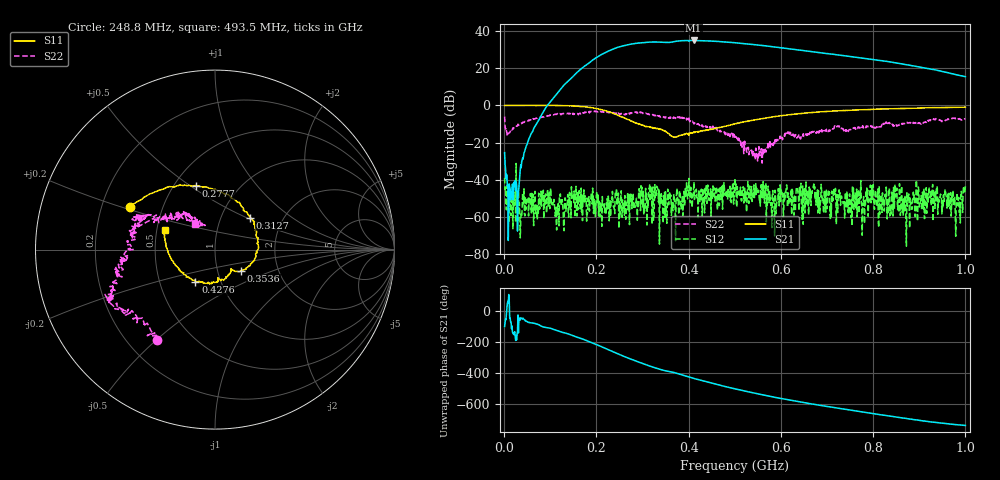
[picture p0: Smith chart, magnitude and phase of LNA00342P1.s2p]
! Created with skrf 1.9.0 (http://scikit-rf.org).
# Hz S RI R 50.0
!freq ReS11 ImS11 ReS21 ImS21 ReS12 ImS12 ReS22 ImS22
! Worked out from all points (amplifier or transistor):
!   1001 points, 1 MHz to 1 GHz, reference 50 ohm
!   highest |S21| = 34.9 dB at 410.6 MHz (marker M1)
!   |S21| within 3 dB of that: 256.4 MHz to 569.6 MHz (313.1 MHz wide, 75.8 % of centre)
!   unconditionally stable (mu >= 1): 200 MHz to 296.6 MHz; 326.7 MHz to 400.5 MHz; 400.7 MHz to end of sweep (the widest 3 of 31)
!   at 166.8 MHz: K = 1.29, MAG = 28.7 dB, |S12| = -44.4 dB
!   at 500.5 MHz: K = 1.09, MAG = 34.5 dB, |S12| = -39.1 dB
!   at 1 GHz: K = 1.70, MAG = 24.5 dB, |S12| = -43.4 dB
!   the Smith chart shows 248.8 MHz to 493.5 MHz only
!   S11 on the Smith chart (normalised r, x): 248.8 MHz: 0.32, +0.22; 277.7 MHz: 0.64, +0.53; 312.7 MHz: 1.37, +0.53; 353.6 MHz: 1.29, -0.31; 427.6 MHz: 0.76, -0.28; 493.5 MHz: 0.55, +0.13
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1000000  0.9929 0.0131  -0.00741 -0.0534  -0.00755 0.00849  0.3512 0.3562
1.08892e8  0.5109 -0.8533  -0.7875 -1.495  0.00224 0.000887  0.428 -0.3711
1.67833e8  -0.2549 -0.894  -9.779 -0.6086  0.000767 -0.00116  0.0612 -0.6349
2.11789e8  -0.6931 -0.3237  -15.21 17.84  -0.00055 -0.000138  -0.1861 -0.639
2.29771e8  -0.6562 -0.019  -8.887 28.71  -0.00256 -0.00131  -0.2626 -0.6109
2.48752e8  -0.4714 0.2392  4.606 36.51  -2.59e-05 0.000497  -0.3239 -0.505
2.77723e8  -0.1042 0.3558  30.07 33.17  -0.00332 0.000496  -0.5375 -0.333
3.12688e8  0.1963 0.178  48.72 8  -0.00293 0.00161  -0.5703 -0.1827
3.34666e8  0.2282 -0.0134  48.96 -10.37  0.00242 -0.000752  -0.5202 -0.0768
3.53647e8  0.143 -0.1175  43.41 -21.98  -0.00173 0.000595  -0.4829 0.0424
3.77623e8  0.0903 -0.1184  38.81 -36.7  -0.000989 0.00231  -0.4554 0.1744
4.1059e8  -0.018 -0.1883  16.01 -52.92  -0.00215 0.00488  -0.277 0.1985
4.27573e8  -0.1088 -0.1791  3.212 -54.27  0.000839 0.00558  -0.2132 0.1782
4.55545e8  -0.2213 -0.088  -16.87 -49.77  0.00525 0.00275  -0.161 0.1941
4.93507e8  -0.2804 0.1091  -35.21 -33.76  0.00122 -0.00298  -0.1116 0.1401
5.005e8  -0.281 0.1541  -37.45 -30.12  0.0103 -0.00398  -0.0923 0.0897
5.4046e8  -0.1986 0.3523  -41.78 -9.288  0.00323 0.000522  -0.0504 0.02
5.88412e8  0.0169 0.503  -35.16 10.8  -0.000141 -0.00336  -0.0809 -0.0774
6.67333e8  0.4007 0.5043  -14.08 23.59  0.000596 -0.00432  -0.1789 -0.0659
7.53247e8  0.6864 0.2845  3.485 19.93  -0.000723 -0.00289  -0.2229 -0.036
8.34166e8  0.8051 0.0151  10.72 10.23  -0.00474 0.0014  -0.3271 -0.0617
1e9  0.7311 -0.5218  5.605 -1.827  -0.00675 -1.64e-05  -0.3922 0.1958
